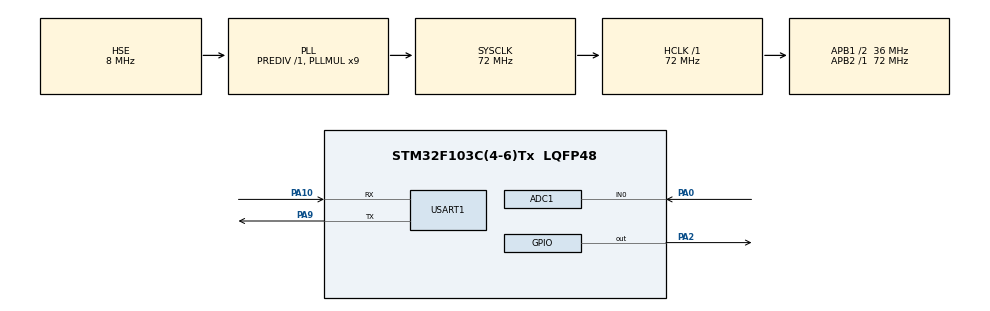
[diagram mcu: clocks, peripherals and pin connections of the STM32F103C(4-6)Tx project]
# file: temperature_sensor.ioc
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ADC1.Channel-0\#ChannelRegularConversion=ADC_CHANNEL_0
ADC1.NbrOfConversionFlag=1
ADC1.Rank-0\#ChannelRegularConversion=1
ADC1.SamplingTime-0\#ChannelRegularConversion=ADC_SAMPLETIME_1CYCLE_5
ADC1.master=1
Mcu.Family=STM32F1
Mcu.Name=STM32F103C(4-6)Tx
Mcu.Package=LQFP48
NVIC.PriorityGroup=NVIC_PRIORITYGROUP_4
PA0-WKUP.Signal=ADCx_IN0
PA10.Mode=Asynchronous
PA10.Signal=USART1_RX
PA2.Signal=GPIO_Output
PA9.Mode=Asynchronous
PA9.Signal=USART1_TX
PD0-OSC_IN.Mode=HSE-External-Oscillator
PD0-OSC_IN.Signal=RCC_OSC_IN
PD1-OSC_OUT.Mode=HSE-External-Oscillator
PD1-OSC_OUT.Signal=RCC_OSC_OUT
ProjectManager.HeapSize=0x200
ProjectManager.StackSize=0x400
ProjectManager.TargetToolchain=STM32CubeIDE
RCC.ADCPresc=RCC_ADCPCLK2_DIV6
RCC.AHBFreq_Value=72000000
RCC.APB1CLKDivider=RCC_HCLK_DIV2
RCC.APB1Freq_Value=36000000
RCC.APB1TimFreq_Value=72000000
RCC.APB2Freq_Value=72000000
RCC.APB2TimFreq_Value=72000000
RCC.HCLKFreq_Value=72000000
RCC.PLLMUL=RCC_PLL_MUL9
RCC.PLLSourceVirtual=RCC_PLLSOURCE_HSE
RCC.SYSCLKFreq_VALUE=72000000
RCC.SYSCLKSource=RCC_SYSCLKSOURCE_PLLCLK
RCC.USBFreq_Value=72000000
SH.ADCx_IN0.0=ADC1_IN0,IN0
USART1.VirtualMode=VM_ASYNC
VP_SYS_VS_ND.Mode=No_Debug
board=custom

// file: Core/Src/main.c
/* USER CODE BEGIN Header */
/**
  ******************************************************************************
  * @file           : main.c
  * @brief          : Main program body
  ******************************************************************************
  * @attention
  *
  * Copyright (c) 2024 STMicroelectronics.
  * All rights reserved.
  *
  * This software is licensed under terms that can be found in the LICENSE file
  * in the root directory of this software component.
  * If no LICENSE file comes with this software, it is provided AS-IS.
  *
  ******************************************************************************
  */
/* USER CODE END Header */
#include "main.h"

ADC_HandleTypeDef hadc1;

UART_HandleTypeDef huart1;

void SystemClock_Config(void);
static void MX_GPIO_Init(void);
static void MX_ADC1_Init(void);
static void MX_USART1_UART_Init(void);
/* USER CODE BEGIN PFP */

void temp_conv(uint16_t temp_var);
void print_char(uint32_t num_var);
/* USER CODE END PFP */

int main(void)
{
  /* USER CODE BEGIN 1 */
	uint8_t *welcome_msg = {"Welcome to STM \r\nTemperature sensor interface \r\n"};
	uint16_t ADC_val;
  /* USER CODE END 1 */

  /* MCU Configuration--------------------------------------------------------*/

  /* Reset of all peripherals, Initializes the Flash interface and the Systick. */
  HAL_Init();

  /* Configure the system clock */
  SystemClock_Config();

  /* Initialize all configured peripherals */
  MX_GPIO_Init();
  MX_ADC1_Init();
  MX_USART1_UART_Init();
  /* USER CODE BEGIN 2 */
  HAL_UART_Transmit(&huart1, welcome_msg, strlen(welcome_msg), 40);

  /* USER CODE END 2 */

  /* Infinite loop */
  while (1)
  {

    /* USER CODE BEGIN 3 */
	  HAL_ADC_Start(&hadc1);
	  HAL_ADC_PollForConversion(&hadc1, 100);
	  ADC_val = HAL_ADC_GetValue(&hadc1);
	  HAL_ADC_Stop(&hadc1);
	  temp_conv(ADC_val);
	  HAL_Delay(500);
  }
  /* USER CODE END 3 */
}

void SystemClock_Config(void)
{
  RCC_OscInitTypeDef RCC_OscInitStruct = {0};
  RCC_ClkInitTypeDef RCC_ClkInitStruct = {0};
  RCC_PeriphCLKInitTypeDef PeriphClkInit = {0};

  /** Initializes the RCC Oscillators according to the specified parameters
  * in the RCC_OscInitTypeDef structure.
  */
  RCC_OscInitStruct.OscillatorType = RCC_OSCILLATORTYPE_HSE;
  RCC_OscInitStruct.HSEState = RCC_HSE_ON;
  RCC_OscInitStruct.HSEPredivValue = RCC_HSE_PREDIV_DIV1;
  RCC_OscInitStruct.HSIState = RCC_HSI_ON;
  RCC_OscInitStruct.PLL.PLLState = RCC_PLL_ON;
  RCC_OscInitStruct.PLL.PLLSource = RCC_PLLSOURCE_HSE;
  RCC_OscInitStruct.PLL.PLLMUL = RCC_PLL_MUL9;
  if (HAL_RCC_OscConfig(&RCC_OscInitStruct) != HAL_OK)
  {
    Error_Handler();
  }

  /** Initializes the CPU, AHB and APB buses clocks
  */
  RCC_ClkInitStruct.ClockType = RCC_CLOCKTYPE_HCLK|RCC_CLOCKTYPE_SYSCLK
                              |RCC_CLOCKTYPE_PCLK1|RCC_CLOCKTYPE_PCLK2;
  RCC_ClkInitStruct.SYSCLKSource = RCC_SYSCLKSOURCE_PLLCLK;
  RCC_ClkInitStruct.AHBCLKDivider = RCC_SYSCLK_DIV1;
  RCC_ClkInitStruct.APB1CLKDivider = RCC_HCLK_DIV2;
  RCC_ClkInitStruct.APB2CLKDivider = RCC_HCLK_DIV1;

  if (HAL_RCC_ClockConfig(&RCC_ClkInitStruct, FLASH_LATENCY_2) != HAL_OK)
  {
    Error_Handler();
  }
  PeriphClkInit.PeriphClockSelection = RCC_PERIPHCLK_ADC;
  PeriphClkInit.AdcClockSelection = RCC_ADCPCLK2_DIV6;
  if (HAL_RCCEx_PeriphCLKConfig(&PeriphClkInit) != HAL_OK)
  {
    Error_Handler();
  }
}

static void MX_ADC1_Init(void)
{

  ADC_ChannelConfTypeDef sConfig = {0};

  /** Common config
  */
  hadc1.Instance = ADC1;
  hadc1.Init.ScanConvMode = ADC_SCAN_DISABLE;
  hadc1.Init.ContinuousConvMode = DISABLE;
  hadc1.Init.DiscontinuousConvMode = DISABLE;
  hadc1.Init.ExternalTrigConv = ADC_SOFTWARE_START;
  hadc1.Init.DataAlign = ADC_DATAALIGN_RIGHT;
  hadc1.Init.NbrOfConversion = 1;
  if (HAL_ADC_Init(&hadc1) != HAL_OK)
  {
    Error_Handler();
  }

  /** Configure Regular Channel
  */
  sConfig.Channel = ADC_CHANNEL_0;
  sConfig.Rank = ADC_REGULAR_RANK_1;
  sConfig.SamplingTime = ADC_SAMPLETIME_1CYCLE_5;
  if (HAL_ADC_ConfigChannel(&hadc1, &sConfig) != HAL_OK)
  {
    Error_Handler();
  }

}

static void MX_USART1_UART_Init(void)
{

  huart1.Instance = USART1;
  huart1.Init.BaudRate = 115200;
  huart1.Init.WordLength = UART_WORDLENGTH_8B;
  huart1.Init.StopBits = UART_STOPBITS_1;
  huart1.Init.Parity = UART_PARITY_NONE;
  huart1.Init.Mode = UART_MODE_TX_RX;
  huart1.Init.HwFlowCtl = UART_HWCONTROL_NONE;
  huart1.Init.OverSampling = UART_OVERSAMPLING_16;
  if (HAL_UART_Init(&huart1) != HAL_OK)
  {
    Error_Handler();
  }

}

static void MX_GPIO_Init(void)
{
  GPIO_InitTypeDef GPIO_InitStruct = {0};

  /* GPIO Ports Clock Enable */
  __HAL_RCC_GPIOD_CLK_ENABLE();
  __HAL_RCC_GPIOA_CLK_ENABLE();

  /*Configure GPIO pin Output Level */
  HAL_GPIO_WritePin(GPIOA, GPIO_PIN_2, GPIO_PIN_RESET);

  /*Configure GPIO pin : PA2 */
  GPIO_InitStruct.Pin = GPIO_PIN_2;
  GPIO_InitStruct.Mode = GPIO_MODE_OUTPUT_PP;
  GPIO_InitStruct.Pull = GPIO_NOPULL;
  GPIO_InitStruct.Speed = GPIO_SPEED_FREQ_LOW;
  HAL_GPIO_Init(GPIOA, &GPIO_InitStruct);

}

/* USER CODE BEGIN 4 */
void temp_conv(uint16_t temp_var)
{
	uint32_t var1 = 0;
	var1 = (temp_var*12.15);       //12.15  //12.153
	HAL_UART_Transmit(&huart1, "temp: ", 6, 10);
	print_char(var1);
}
void print_char(uint32_t num_var)
{
	uint8_t char_num_var[] = {"000000\r\n"};
	uint8_t i = 5;
	while( num_var != 0)
	{
		char_num_var[i] = (num_var%10)+48 ;
		num_var = num_var/10;
		i--;
		if(i == 3)
		{
			char_num_var[i] = '.';
			i--;
		}
	}
	char_num_var[i] = (num_var%10) +48;

	HAL_UART_Transmit(&huart1, &char_num_var[0], 8, 15);
	HAL_Delay(1);

}
/* USER CODE END 4 */

void Error_Handler(void)
{
  __disable_irq();
  while (1)
  {
  }
}
